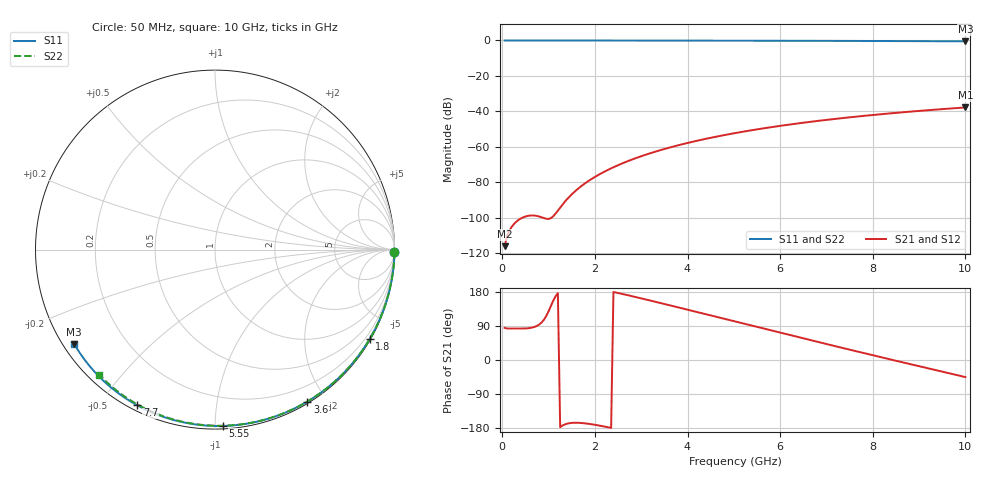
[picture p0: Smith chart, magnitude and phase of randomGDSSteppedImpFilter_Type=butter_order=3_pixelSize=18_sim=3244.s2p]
! freq	dB(S11)	phase(S11)	dB(S12)	phase(S12)
!  dB(S21)	phase(S21)	dB(S22)	phase(S22)
!S-par simulation data
#  GHz  S  DB  R 50
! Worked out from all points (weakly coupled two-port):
!   200 points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, 50 MHz to 10 GHz, reference 50 ohm
!   highest |S21| = -37.80 dB at 10 GHz (marker M1); lowest = -116.1 dB at 50 MHz (marker M2)
!   lowest |S11| = -0.5 dB at 10 GHz (marker M3), VSWR 35.04, Z = 1.56 - j15.2 ohm
!   |S11| at or under -10 dB: nowhere
!   |S22| runs from -0.4 to 0.0 dB; largest |S21 - S12| = 0
!   S11 on the Smith chart (normalised r, x): 50 MHz: open; 1.8 GHz: 0.03, -3.72; 3.6 GHz: 0.02, -1.78; 5.55 GHz: 0.02, -1.05; 7.7 GHz: 0.02, -0.62; 10 GHz: 0.03, -0.30
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0.05  -0.00 -0.9  -116.06 84.8  -116.06 84.8  -0.00 -0.8
0.45  -0.01 -7.6  -99.80 83.0  -99.80 83.0  -0.01 -6.9
0.9  -0.02 -15.2  -100.24 106.5  -100.24 106.5  -0.02 -13.7
1.3  -0.03 -21.9  -92.59 -173.0  -92.59 -173.0  -0.02 -19.8
1.75  -0.04 -29.3  -81.31 -166.7  -81.31 -166.7  -0.03 -26.5
1.8  -0.04 -30.1  -80.36 -167.4  -80.36 -167.4  -0.03 -27.2
1.85  -0.04 -30.9  -79.47 -168.1  -79.47 -168.1  -0.04 -28.0
2.05  -0.04 -34.2  -76.22 -172.0  -76.22 -172.0  -0.04 -30.9
2.2  -0.05 -36.6  -74.09 -175.5  -74.09 -175.5  -0.04 -33.1
2.55  -0.05 -42.3  -69.80 175.4  -69.80 175.4  -0.05 -38.3
2.95  -0.06 -48.6  -65.77 164.1  -65.77 164.1  -0.06 -44.0
3.4  -0.07 -55.6  -61.99 150.8  -61.99 150.8  -0.07 -50.4
3.6  -0.08 -58.7  -60.51 144.8  -60.51 144.8  -0.07 -53.2
4.3  -0.10 -69.3  -56.03 123.6  -56.03 123.6  -0.09 -62.9
5.05  -0.12 -80.3  -52.15 100.8  -52.15 100.8  -0.11 -73.0
5.55  -0.14 -87.4  -49.95 85.6  -49.95 85.6  -0.13 -79.5
6.1  -0.17 -95.1  -47.81 69.0  -47.81 69.0  -0.15 -86.5
6.7  -0.20 -103.2  -45.75 51.0  -45.75 51.0  -0.18 -94.0
7.7  -0.27 -116.5  -42.82 21.4  -42.82 21.4  -0.24 -106.1
8.35  -0.32 -125.0  -41.20 2.4  -41.20 2.4  -0.29 -113.8
9.2  -0.40 -135.9  -39.33 -22.1  -39.33 -22.1  -0.36 -123.6
10  -0.50 -146.2  -37.80 -45.1  -37.80 -45.1  -0.45 -132.7
